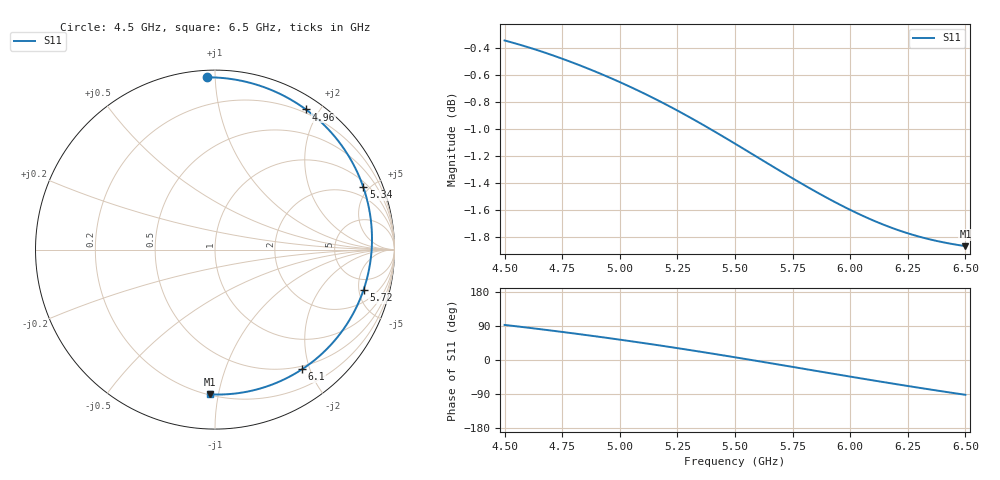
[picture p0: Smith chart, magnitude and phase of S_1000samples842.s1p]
! TOUCHSTONE file generated by CST MICROWAVE STUDIO
! Date and time: Sat Oct 29 13:58:28 2022
! Project name: L.cst
! Parameters = {Di=1.27; Epsilon_r=1.56; InnerDiameter=1.27; Length=2; Lf=10; Lg=60; OuterConductorThickness=0.2921; OuterDiameter=3.6; Wf=3; Wp=41.2; de=1.5; df=6.8; g=0.8; gx=2.43495; gy=3.36381; h=2.34; hf=1.524; px=8.48926; py=9.58725; w=9.7; wx=6.05431; wy=6.22345}
! Header version: 2018
! Port assignment regex: !\s*Touchstone port\s*([0-9]+)\s*=\s*(CST MWS port|CST DS port)\s*([0-9]+|Zmin|Zmax)\s*\(\"(.*)\"\)(\s*mode\s*([0-9]+))?.*
! Touchstone port assignment:
! Touchstone port 1 = CST MWS port 1 ("")
# GHz S DB R 50
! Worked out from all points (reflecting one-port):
!   101 points, 4.5 GHz to 6.5 GHz, reference 50 ohm
!   lowest |S11| = -1.9 dB at 6.5 GHz (marker M1), VSWR 9.35, Z = 10.3 - j47.4 ohm
!   phase of S11 starts at 93 deg and turns -184 deg over the sweep
!   S11 on the Smith chart (normalised r, x): 4.5 GHz: 0.04, +0.96; 4.96 GHz: 0.16, +1.83; 5.34 GHz: 1.30, +4.61; 5.72 GHz: 3.31, -5.61; 6.1 GHz: 0.45, -1.88; 6.5 GHz: 0.21, -0.95
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4.5  -0.35 92.6
4.58  -0.39 86.8
4.64  -0.42 82.4
4.76  -0.49 73.3
4.86  -0.55 65.3
4.96  -0.62 57.1
5  -0.65 53.7
5.12  -0.75 43.2
5.2  -0.82 35.9
5.26  -0.87 30.4
5.34  -0.95 22.8
5.42  -1.03 15.0
5.5  -1.11 7.1
5.6  -1.21 -2.9
5.66  -1.27 -9.0
5.72  -1.33 -15.2
5.76  -1.37 -19.3
5.82  -1.43 -25.4
5.88  -1.49 -31.6
5.94  -1.55 -37.7
6  -1.60 -43.8
6.1  -1.68 -53.9
6.18  -1.73 -61.8
6.26  -1.78 -69.5
6.32  -1.80 -75.3
6.38  -1.83 -80.9
6.44  -1.85 -86.4
6.5  -1.87 -91.8
